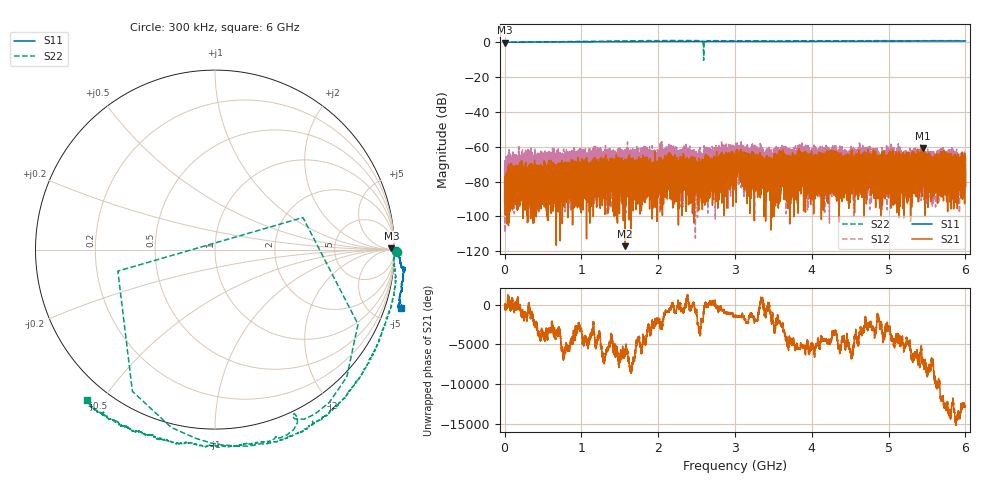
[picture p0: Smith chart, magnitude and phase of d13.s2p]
!Agilent Technologies,N5230C,SG49000117,A.08.50.07
!Agilent N5230C: A.08.50.07
!Date: Thursday, May 16, 2024 18:16:51
!Correction: S11(Full 2 Port(1,2))
!S21(Full 2 Port(1,2))
!S12(Full 2 Port(1,2))
!S22(Full 2 Port(1,2))
!S2P File: Measurements: S11, S21, S12, S22:
# Hz S  MA  R 50
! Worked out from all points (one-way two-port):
!   20001 points, 300 kHz to 6 GHz, reference 50 ohm
!   highest |S21| = -60.98 dB at 5.445 GHz (marker M1); lowest = -117.1 dB at 1.568 GHz (marker M2)
!   lowest |S11| = -0.1 dB at 600 kHz (marker M3), VSWR 117.90, Z = 5.18e+03 + j1.92e+03 ohm
!   |S11| at or under -10 dB: nowhere
!   |S22| runs from -10.4 to 1.0 dB; largest |S21 - S12| = 0.0016
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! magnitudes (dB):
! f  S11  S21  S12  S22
! 300 kHz  0.1  -80.4  -72.3  0.1
! 600 kHz  -0.1  -83.8  -76.3  -0.3
! 1 GHz  0.3  -76.1  -67.3  0.5
! 1.568 GHz  0.4  -117.1  -70.3  0.8
! 2 GHz  0.5  -88.5  -72.8  0.9
! 2.139 GHz  0.5  -72.7  -66.9  1.0
! 2.265 GHz  0.5  -78.4  -72.4  1.0
! 2.581 GHz  0.5  -73.2  -67.9  0.3
! 2.641 GHz  0.5  -66.3  -71.0  0.8
! 3 GHz  0.5  -81.6  -62.3  0.8
! 3.052 GHz  0.5  -66.5  -62.6  0.8
! 3.185 GHz  0.5  -74.3  -67.5  0.8
! 3.252 GHz  0.5  -72.1  -65.0  0.8
! 3.478 GHz  0.5  -77.0  -65.3  0.7
! 3.635 GHz  0.5  -70.9  -59.9  0.8
! 3.774 GHz  0.5  -69.4  -70.2  0.8
! 3.834 GHz  0.5  -69.8  -60.6  0.8
! 4 GHz  0.5  -69.9  -63.2  0.8
! 5 GHz  0.7  -75.5  -71.9  0.9
! 5.445 GHz  0.7  -61.0  -66.8  0.9
! 5.927 GHz  0.7  -70.8  -70.5  0.9
! 6 GHz  0.7  -83.1  -65.9  0.8
